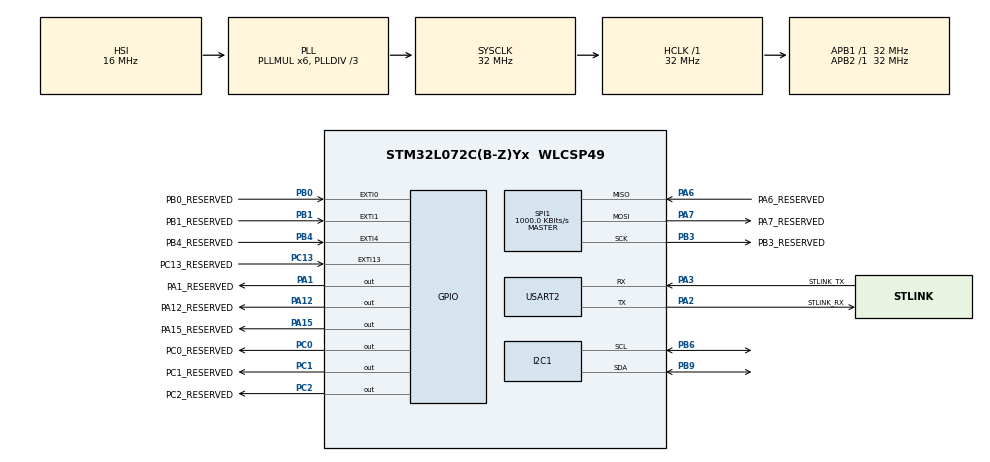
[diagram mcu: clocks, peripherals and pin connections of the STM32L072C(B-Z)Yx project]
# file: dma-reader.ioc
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Dma.I2C1_RX.0.Direction=DMA_PERIPH_TO_MEMORY
Dma.I2C1_RX.0.Instance=DMA1_Channel3
Dma.I2C1_RX.0.MemDataAlignment=DMA_MDATAALIGN_BYTE
Dma.I2C1_RX.0.MemInc=DMA_MINC_ENABLE
Dma.I2C1_RX.0.Mode=DMA_NORMAL
Dma.I2C1_RX.0.PeriphDataAlignment=DMA_PDATAALIGN_BYTE
Dma.I2C1_RX.0.PeriphInc=DMA_PINC_DISABLE
Dma.I2C1_RX.0.Priority=DMA_PRIORITY_MEDIUM
Dma.Request0=I2C1_RX
I2C1.Timing=0x00B07CB4
Mcu.Family=STM32L0
Mcu.Name=STM32L072C(B-Z)Yx
Mcu.Package=WLCSP49
NVIC.DMA1_Channel2_3_IRQn=true\:0\:0\:false\:false\:true\:false\:true\:true
NVIC.EXTI0_1_IRQn=true\:0\:0\:false\:false\:true\:true\:true\:true
NVIC.EXTI4_15_IRQn=true\:0\:0\:false\:false\:true\:true\:true\:true
NVIC.I2C1_IRQn=true\:0\:0\:false\:false\:true\:true\:true\:true
NVIC.RTC_IRQn=true\:0\:0\:false\:false\:true\:true\:true\:true
NVIC.USART2_IRQn=true\:0\:0\:false\:false\:true\:true\:true\:true
PA1.GPIO_Label=PA1_RESERVED
PA1.GPIO_Speed=GPIO_SPEED_FREQ_HIGH
PA1.PinState=GPIO_PIN_RESET
PA1.Signal=GPIO_Output
PA12.GPIO_Label=PA12_RESERVED
PA12.GPIO_Speed=GPIO_SPEED_FREQ_HIGH
PA12.Signal=GPIO_Output
PA15.GPIO_Label=PA15_RESERVED
PA15.GPIO_Speed=GPIO_SPEED_FREQ_HIGH
PA15.Signal=GPIO_Output
PA2.GPIO_Label=STLINK_RX
PA2.Mode=Asynchronous
PA2.Signal=USART2_TX
PA3.GPIO_Label=STLINK_TX
PA3.Mode=Asynchronous
PA3.Signal=USART2_RX
PA6.GPIO_Label=PA6_RESERVED
PA6.Mode=Full_Duplex_Master
PA6.Signal=SPI1_MISO
PA7.GPIO_Label=PA7_RESERVED
PA7.Mode=Full_Duplex_Master
PA7.Signal=SPI1_MOSI
PB0.GPIO_Label=PB0_RESERVED
PB0.Signal=GPXTI0
PB1.GPIO_Label=PB1_RESERVED
PB1.Signal=GPXTI1
PB3.GPIO_Label=PB3_RESERVED
PB3.Mode=Full_Duplex_Master
PB3.Signal=SPI1_SCK
PB4.GPIO_Label=PB4_RESERVED
PB4.Signal=GPXTI4
PB6.Mode=I2C
PB6.Signal=I2C1_SCL
PB9.Mode=I2C
PB9.Signal=I2C1_SDA
PC0.GPIO_Label=PC0_RESERVED
PC0.GPIO_Speed=GPIO_SPEED_FREQ_HIGH
PC0.Signal=GPIO_Output
PC1.GPIO_Label=PC1_RESERVED
PC1.GPIO_Speed=GPIO_SPEED_FREQ_HIGH
PC1.Signal=GPIO_Output
PC13.GPIO_Label=PC13_RESERVED
PC13.Signal=GPXTI13
PC2.GPIO_Label=PC2_RESERVED
PC2.GPIO_Speed=GPIO_SPEED_FREQ_HIGH
PC2.Signal=GPIO_Output
PH0-OSC_IN.Signal=RCC_OSC_IN
PH1-OSC_OUT.Signal=RCC_OSC_OUT
ProjectManager.HeapSize=0x200
ProjectManager.StackSize=0x400
ProjectManager.TargetToolchain=STM32CubeIDE
RCC.AHBFreq_Value=32000000
RCC.APB1Freq_Value=32000000
RCC.APB1TimFreq_Value=32000000
RCC.APB2Freq_Value=32000000
RCC.APB2TimFreq_Value=32000000
RCC.HCLKFreq_Value=32000000
RCC.HSE_VALUE=8000000
RCC.HSI16_VALUE=16000000
RCC.HSI48_VALUE=48000000
RCC.HSI_VALUE=16000000
RCC.LSE_VALUE=32768
RCC.MSI_VALUE=2097000
RCC.PLLDIV=RCC_PLLDIV_3
RCC.PLLMUL=RCC_PLLMUL_6
RCC.SYSCLKFreq_VALUE=32000000
RCC.SYSCLKSource=RCC_SYSCLKSOURCE_PLLCLK
RCC.VCOOutputFreq_Value=96000000
RTC.Alarm-Alarm\ A=RTC_ALARM_A
RTC.AlarmSubSecondMask-Alarm\ A=RTC_ALARMSUBSECONDMASK_NONE
RTC.AsynchPrediv=31
RTC.Format=RTC_FORMAT_BIN
RTC.SynchPrediv=1023
SPI1.BaudRatePrescaler=SPI_BAUDRATEPRESCALER_32
SPI1.CalculateBaudRate=1000.0 KBits/s
SPI1.Direction=SPI_DIRECTION_2LINES
SPI1.Mode=SPI_MODE_MASTER
SPI1.VirtualType=VM_MASTER
USART2.VirtualMode-Asynchronous=VM_ASYNC
VP_RTC_VS_RTC_Activate.Mode=RTC_Enabled
VP_RTC_VS_RTC_Alarm_A_Intern.Mode=Alarm A
VP_RTC_VS_RTC_Calendar.Mode=RTC_Calendar
board=B-L072Z-LRWAN1

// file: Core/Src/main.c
/* USER CODE BEGIN Header */
/**
  ******************************************************************************
  * @file           : main.c
  * @brief          : Main program body
  ******************************************************************************
  * @attention
  *
  * Copyright (c) 2026 STMicroelectronics.
  * All rights reserved.
  *
  * This software is licensed under terms that can be found in the LICENSE file
  * in the root directory of this software component.
  * If no LICENSE file comes with this software, it is provided AS-IS.
  *
  ******************************************************************************
  */
/* USER CODE END Header */
#include "main.h"

/* USER CODE BEGIN Includes */
#include "stdio.h"
/* USER CODE END Includes */

/* USER CODE BEGIN PD */
#define MPU6050_ADDR 0x68

#define REG_PWR_MGMT_1 0x6b
#define REG_WHO_AM_I 0x75
#define REG_ACCEL_XOUT_L  0x3c
#define REG_ACCEL_XOUT_H 0x3b
#define REG_ACCEL_YOUT_H 0x3d
#define REG_ACCEL_ZOUT_H 0x3f
#define REG_GYRO_XOUT_H 0x43
#define REG_GYRO_YOUT_H 0x45
#define REG_GYRO_ZOUT_H 0x47
/* USER CODE END PD */

I2C_HandleTypeDef hi2c1;
DMA_HandleTypeDef hdma_i2c1_rx;

RTC_HandleTypeDef hrtc;

SPI_HandleTypeDef hspi1;

UART_HandleTypeDef huart2;

/* USER CODE BEGIN PV */
uint8_t acc_buffer[6];
uint8_t flag=0;
/* USER CODE END PV */

void SystemClock_Config(void);
static void MX_GPIO_Init(void);
static void MX_DMA_Init(void);
static void MX_I2C1_Init(void);
static void MX_RTC_Init(void);
static void MX_SPI1_Init(void);
static void MX_USART2_UART_Init(void);

/* USER CODE BEGIN 0 */
int _write(int file, char *ptr, int len){
	HAL_StatusTypeDef hstatus;
	hstatus = HAL_UART_Transmit(&huart2,(uint8_t *)ptr, len, HAL_MAX_DELAY);
	if(hstatus==HAL_OK)
		return len;
	else
		return -1;
}

uint8_t MPU6050_WakeUp(I2C_HandleTypeDef *i2c){
	uint8_t data = 0x0;
	if(HAL_I2C_Mem_Write(i2c,MPU6050_ADDR<<1,REG_PWR_MGMT_1,1,&data,1,100)==HAL_OK)
		return 1;
	else
		return 0;
}

void MPU6050_Read_DMA() {
    if(HAL_I2C_Mem_Read_DMA(&hi2c1, MPU6050_ADDR<<1 , REG_ACCEL_XOUT_H, I2C_MEMADD_SIZE_8BIT, acc_buffer, 6)!=HAL_OK)
    	printf("\nDMA initiation failed!");

}

void HAL_I2C_MemRxCpltCallback(I2C_HandleTypeDef *hi2c) {
    if (hi2c->Instance == I2C1) {
//    	printf("\nReading through DMA complete!");
    	flag=1;
    }
}

/* USER CODE END 0 */

int main(void)
{

  /* MCU Configuration--------------------------------------------------------*/

  /* Reset of all peripherals, Initializes the Flash interface and the Systick. */
  HAL_Init();

  /* Configure the system clock */
  SystemClock_Config();

  /* Initialize all configured peripherals */
  MX_GPIO_Init();
  MX_DMA_Init();
  MX_I2C1_Init();
  MX_RTC_Init();
  MX_SPI1_Init();
  MX_USART2_UART_Init();
  /* USER CODE BEGIN 2 */
  printf("*****************Started MPU code***********************\n");
  printf("Waking up the sensor now.");
    uint8_t stat = MPU6050_WakeUp(&hi2c1);
    if(stat==1)
  	  printf("\nSensor woke up!");
    else
  	  printf("\nFailed to wake up sensor!");

    HAL_Delay(500);
    printf("\nStarting DMA...");
    MPU6050_Read_DMA();
    printf("\nDMA exited!");
//	uint8_t data = 0x0;
//  if(HAL_I2C_Mem_Write(&hi2c1,MPU6050_ADDR<<1,REG_PWR_MGMT_1,1,&data,1,2000)==HAL_OK)
//	  printf("\nSensor woke up!");
//  else
//	  printf("\nFailed to wake up sensor!");
    HAL_Delay(1000);
  /* USER CODE END 2 */

  /* Infinite loop */
  while (1)
  {
	  if(flag==1){
		  float acc[3];

		  acc[0]=(((int16_t)(acc_buffer[0]<<8 | acc_buffer[1]))/16384.0);
		  acc[1]=(((int16_t)(acc_buffer[2]<<8 | acc_buffer[3]))/16384.0);
		  acc[2]=(((int16_t)(acc_buffer[4]<<8 | acc_buffer[5]))/16384.0);

		  printf("\n%.2f %.2f %.2f",acc[0],acc[1],acc[2]);

		  flag=0;
		  MPU6050_Read_DMA();

	  }
  }
}

void SystemClock_Config(void)
{
  RCC_OscInitTypeDef RCC_OscInitStruct = {0};
  RCC_ClkInitTypeDef RCC_ClkInitStruct = {0};
  RCC_PeriphCLKInitTypeDef PeriphClkInit = {0};

  /** Configure the main internal regulator output voltage
  */
  __HAL_PWR_VOLTAGESCALING_CONFIG(PWR_REGULATOR_VOLTAGE_SCALE1);

  /** Initializes the RCC Oscillators according to the specified parameters
  * in the RCC_OscInitTypeDef structure.
  */
  RCC_OscInitStruct.OscillatorType = RCC_OSCILLATORTYPE_HSI|RCC_OSCILLATORTYPE_LSI;
  RCC_OscInitStruct.HSIState = RCC_HSI_ON;
  RCC_OscInitStruct.HSICalibrationValue = RCC_HSICALIBRATION_DEFAULT;
  RCC_OscInitStruct.LSIState = RCC_LSI_ON;
  RCC_OscInitStruct.PLL.PLLState = RCC_PLL_ON;
  RCC_OscInitStruct.PLL.PLLSource = RCC_PLLSOURCE_HSI;
  RCC_OscInitStruct.PLL.PLLMUL = RCC_PLLMUL_6;
  RCC_OscInitStruct.PLL.PLLDIV = RCC_PLLDIV_3;
  if (HAL_RCC_OscConfig(&RCC_OscInitStruct) != HAL_OK)
  {
    Error_Handler();
  }

  /** Initializes the CPU, AHB and APB buses clocks
  */
  RCC_ClkInitStruct.ClockType = RCC_CLOCKTYPE_HCLK|RCC_CLOCKTYPE_SYSCLK
                              |RCC_CLOCKTYPE_PCLK1|RCC_CLOCKTYPE_PCLK2;
  RCC_ClkInitStruct.SYSCLKSource = RCC_SYSCLKSOURCE_PLLCLK;
  RCC_ClkInitStruct.AHBCLKDivider = RCC_SYSCLK_DIV1;
  RCC_ClkInitStruct.APB1CLKDivider = RCC_HCLK_DIV1;
  RCC_ClkInitStruct.APB2CLKDivider = RCC_HCLK_DIV1;

  if (HAL_RCC_ClockConfig(&RCC_ClkInitStruct, FLASH_LATENCY_1) != HAL_OK)
  {
    Error_Handler();
  }
  PeriphClkInit.PeriphClockSelection = RCC_PERIPHCLK_USART2|RCC_PERIPHCLK_I2C1
                              |RCC_PERIPHCLK_RTC;
  PeriphClkInit.Usart2ClockSelection = RCC_USART2CLKSOURCE_PCLK1;
  PeriphClkInit.I2c1ClockSelection = RCC_I2C1CLKSOURCE_PCLK1;
  PeriphClkInit.RTCClockSelection = RCC_RTCCLKSOURCE_LSI;
  if (HAL_RCCEx_PeriphCLKConfig(&PeriphClkInit) != HAL_OK)
  {
    Error_Handler();
  }
}

static void MX_I2C1_Init(void)
{

  hi2c1.Instance = I2C1;
  hi2c1.Init.Timing = 0x00B07CB4;
  hi2c1.Init.OwnAddress1 = 0;
  hi2c1.Init.AddressingMode = I2C_ADDRESSINGMODE_7BIT;
  hi2c1.Init.DualAddressMode = I2C_DUALADDRESS_DISABLE;
  hi2c1.Init.OwnAddress2 = 0;
  hi2c1.Init.OwnAddress2Masks = I2C_OA2_NOMASK;
  hi2c1.Init.GeneralCallMode = I2C_GENERALCALL_DISABLE;
  hi2c1.Init.NoStretchMode = I2C_NOSTRETCH_DISABLE;
  if (HAL_I2C_Init(&hi2c1) != HAL_OK)
  {
    Error_Handler();
  }

  /** Configure Analogue filter
  */
  if (HAL_I2CEx_ConfigAnalogFilter(&hi2c1, I2C_ANALOGFILTER_ENABLE) != HAL_OK)
  {
    Error_Handler();
  }

  /** Configure Digital filter
  */
  if (HAL_I2CEx_ConfigDigitalFilter(&hi2c1, 0) != HAL_OK)
  {
    Error_Handler();
  }

}

static void MX_RTC_Init(void)
{

  RTC_TimeTypeDef sTime = {0};
  RTC_DateTypeDef sDate = {0};
  RTC_AlarmTypeDef sAlarm = {0};

  /** Initialize RTC Only
  */
  hrtc.Instance = RTC;
  hrtc.Init.HourFormat = RTC_HOURFORMAT_24;
  hrtc.Init.AsynchPrediv = 31;
  hrtc.Init.SynchPrediv = 1023;
  hrtc.Init.OutPut = RTC_OUTPUT_DISABLE;
  hrtc.Init.OutPutRemap = RTC_OUTPUT_REMAP_NONE;
  hrtc.Init.OutPutPolarity = RTC_OUTPUT_POLARITY_HIGH;
  hrtc.Init.OutPutType = RTC_OUTPUT_TYPE_OPENDRAIN;
  if (HAL_RTC_Init(&hrtc) != HAL_OK)
  {
    Error_Handler();
  }

  /** Initialize RTC and set the Time and Date
  */
  sTime.Hours = 0;
  sTime.Minutes = 0;
  sTime.Seconds = 0;
  sTime.DayLightSaving = RTC_DAYLIGHTSAVING_NONE;
  sTime.StoreOperation = RTC_STOREOPERATION_RESET;
  if (HAL_RTC_SetTime(&hrtc, &sTime, RTC_FORMAT_BIN) != HAL_OK)
  {
    Error_Handler();
  }
  sDate.WeekDay = RTC_WEEKDAY_MONDAY;
  sDate.Month = RTC_MONTH_JANUARY;
  sDate.Date = 1;
  sDate.Year = 0;

  if (HAL_RTC_SetDate(&hrtc, &sDate, RTC_FORMAT_BIN) != HAL_OK)
  {
    Error_Handler();
  }

  /** Enable the Alarm A
  */
  sAlarm.AlarmTime.Hours = 0;
  sAlarm.AlarmTime.Minutes = 0;
  sAlarm.AlarmTime.Seconds = 0;
  sAlarm.AlarmTime.SubSeconds = 0;
  sAlarm.AlarmTime.DayLightSaving = RTC_DAYLIGHTSAVING_NONE;
  sAlarm.AlarmTime.StoreOperation = RTC_STOREOPERATION_RESET;
  sAlarm.AlarmMask = RTC_ALARMMASK_NONE;
  sAlarm.AlarmSubSecondMask = RTC_ALARMSUBSECONDMASK_NONE;
  sAlarm.AlarmDateWeekDaySel = RTC_ALARMDATEWEEKDAYSEL_DATE;
  sAlarm.AlarmDateWeekDay = 1;
  sAlarm.Alarm = RTC_ALARM_A;
  if (HAL_RTC_SetAlarm_IT(&hrtc, &sAlarm, RTC_FORMAT_BIN) != HAL_OK)
  {
    Error_Handler();
  }

}

static void MX_SPI1_Init(void)
{

  /* SPI1 parameter configuration*/
  hspi1.Instance = SPI1;
  hspi1.Init.Mode = SPI_MODE_MASTER;
  hspi1.Init.Direction = SPI_DIRECTION_2LINES;
  hspi1.Init.DataSize = SPI_DATASIZE_8BIT;
  hspi1.Init.CLKPolarity = SPI_POLARITY_LOW;
  hspi1.Init.CLKPhase = SPI_PHASE_1EDGE;
  hspi1.Init.NSS = SPI_NSS_SOFT;
  hspi1.Init.BaudRatePrescaler = SPI_BAUDRATEPRESCALER_32;
  hspi1.Init.FirstBit = SPI_FIRSTBIT_MSB;
  hspi1.Init.TIMode = SPI_TIMODE_DISABLE;
  hspi1.Init.CRCCalculation = SPI_CRCCALCULATION_DISABLE;
  hspi1.Init.CRCPolynomial = 7;
  if (HAL_SPI_Init(&hspi1) != HAL_OK)
  {
    Error_Handler();
  }

}

static void MX_USART2_UART_Init(void)
{

  huart2.Instance = USART2;
  huart2.Init.BaudRate = 115200;
  huart2.Init.WordLength = UART_WORDLENGTH_8B;
  huart2.Init.StopBits = UART_STOPBITS_1;
  huart2.Init.Parity = UART_PARITY_NONE;
  huart2.Init.Mode = UART_MODE_TX_RX;
  huart2.Init.HwFlowCtl = UART_HWCONTROL_NONE;
  huart2.Init.OverSampling = UART_OVERSAMPLING_16;
  huart2.Init.OneBitSampling = UART_ONE_BIT_SAMPLE_DISABLE;
  huart2.AdvancedInit.AdvFeatureInit = UART_ADVFEATURE_NO_INIT;
  if (HAL_UART_Init(&huart2) != HAL_OK)
  {
    Error_Handler();
  }

}

static void MX_DMA_Init(void)
{

  /* DMA controller clock enable */
  __HAL_RCC_DMA1_CLK_ENABLE();

  /* DMA interrupt init */
  /* DMA1_Channel2_3_IRQn interrupt configuration */
  HAL_NVIC_SetPriority(DMA1_Channel2_3_IRQn, 0, 0);
  HAL_NVIC_EnableIRQ(DMA1_Channel2_3_IRQn);

}

static void MX_GPIO_Init(void)
{
  GPIO_InitTypeDef GPIO_InitStruct = {0};

  /* GPIO Ports Clock Enable */
  __HAL_RCC_GPIOA_CLK_ENABLE();
  __HAL_RCC_GPIOB_CLK_ENABLE();
  __HAL_RCC_GPIOC_CLK_ENABLE();
  __HAL_RCC_GPIOH_CLK_ENABLE();

  /*Configure GPIO pin Output Level */
  HAL_GPIO_WritePin(GPIOA, PA15_RESERVED_Pin|PA12_RESERVED_Pin|PA1_RESERVED_Pin, GPIO_PIN_RESET);

  /*Configure GPIO pin Output Level */
  HAL_GPIO_WritePin(GPIOC, PC1_RESERVED_Pin|PC0_RESERVED_Pin|PC2_RESERVED_Pin, GPIO_PIN_RESET);

  /*Configure GPIO pins : PA15_RESERVED_Pin PA12_RESERVED_Pin PA1_RESERVED_Pin */
  GPIO_InitStruct.Pin = PA15_RESERVED_Pin|PA12_RESERVED_Pin|PA1_RESERVED_Pin;
  GPIO_InitStruct.Mode = GPIO_MODE_OUTPUT_PP;
  GPIO_InitStruct.Pull = GPIO_NOPULL;
  GPIO_InitStruct.Speed = GPIO_SPEED_FREQ_HIGH;
  HAL_GPIO_Init(GPIOA, &GPIO_InitStruct);

  /*Configure GPIO pins : PB4_RESERVED_Pin PB1_RESERVED_Pin PB0_RESERVED_Pin */
  GPIO_InitStruct.Pin = PB4_RESERVED_Pin|PB1_RESERVED_Pin|PB0_RESERVED_Pin;
  GPIO_InitStruct.Mode = GPIO_MODE_IT_RISING;
  GPIO_InitStruct.Pull = GPIO_NOPULL;
  HAL_GPIO_Init(GPIOB, &GPIO_InitStruct);

  /*Configure GPIO pin : PC13_RESERVED_Pin */
  GPIO_InitStruct.Pin = PC13_RESERVED_Pin;
  GPIO_InitStruct.Mode = GPIO_MODE_IT_RISING;
  GPIO_InitStruct.Pull = GPIO_NOPULL;
  HAL_GPIO_Init(PC13_RESERVED_GPIO_Port, &GPIO_InitStruct);

  /*Configure GPIO pins : PC1_RESERVED_Pin PC0_RESERVED_Pin PC2_RESERVED_Pin */
  GPIO_InitStruct.Pin = PC1_RESERVED_Pin|PC0_RESERVED_Pin|PC2_RESERVED_Pin;
  GPIO_InitStruct.Mode = GPIO_MODE_OUTPUT_PP;
  GPIO_InitStruct.Pull = GPIO_NOPULL;
  GPIO_InitStruct.Speed = GPIO_SPEED_FREQ_HIGH;
  HAL_GPIO_Init(GPIOC, &GPIO_InitStruct);

  /* EXTI interrupt init*/
  HAL_NVIC_SetPriority(EXTI0_1_IRQn, 0, 0);
  HAL_NVIC_EnableIRQ(EXTI0_1_IRQn);

  HAL_NVIC_SetPriority(EXTI4_15_IRQn, 0, 0);
  HAL_NVIC_EnableIRQ(EXTI4_15_IRQn);

}

void Error_Handler(void)
{
  __disable_irq();
  while (1)
  {
  }
}
